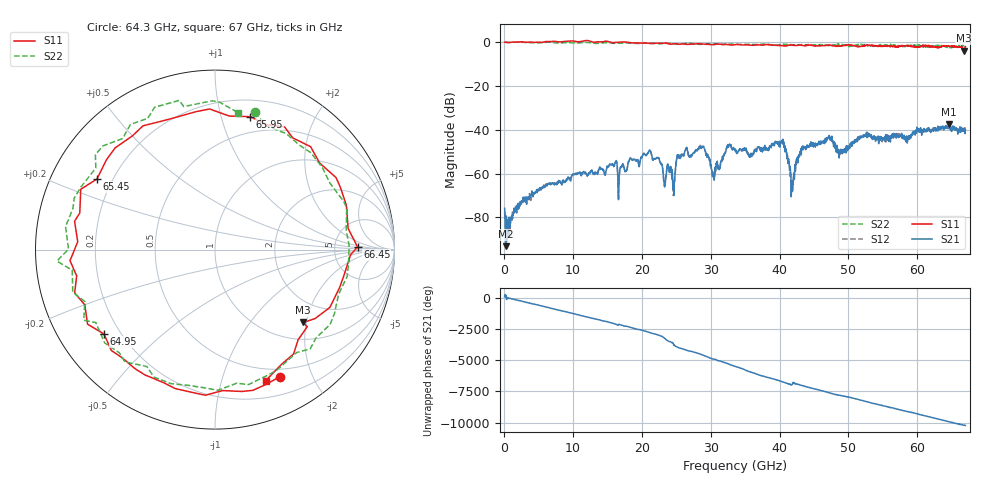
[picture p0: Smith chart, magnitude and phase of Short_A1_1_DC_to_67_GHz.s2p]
#  HZ  S  MA  R  50.00
! Rohde & Schwarz ZVA67 4Ports - Version 4.11 - 1305.7002k04 SN: 101051
! Date: 2023-05-31 11:09:54
! Measurements: S11 S21 S12 S22
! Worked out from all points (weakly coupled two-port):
!   1340 points, 50 MHz to 67 GHz, reference 50 ohm
!   highest |S21| = -37.52 dB at 64.6 GHz (marker M1); lowest = -93.1 dB at 250 MHz (marker M2)
!   lowest |S11| = -3.9 dB at 66.75 GHz (marker M3), VSWR 4.52, Z = 70.1 - j96 ohm
!   |S11| at or under -10 dB: nowhere
!   |S22| runs from -2.7 to 0.0 dB; largest |S21 - S12| = 0.0039
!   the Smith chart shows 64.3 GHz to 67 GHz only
!   S11 on the Smith chart (normalised r, x): 64.3 GHz: 0.40, -1.56; 64.95 GHz: 0.14, -0.33; 65.45 GHz: 0.14, +0.27; 65.95 GHz: 0.35, +1.24; 66.45 GHz: 8.69, +0.67; 67 GHz: 0.37, -1.39
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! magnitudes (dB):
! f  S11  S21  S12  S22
! 50 MHz  -0.1  -75.8  -77.5  0.0
! 250 MHz  -0.2  -93.1  -88.5  -0.1
! 11.25 GHz  0.3  -59.7  -60.3  -0.3
! 22.4 GHz  -0.6  -52.9  -52.8  -0.8
! 24.6 GHz  -0.8  -67.7  -69.7  -0.8
! 26.4 GHz  -1.0  -48.7  -48.3  -0.6
! 28.8 GHz  -0.9  -48.0  -47.6  -1.1
! 30.4 GHz  -1.2  -60.4  -61.9  -0.8
! 33.55 GHz  -1.2  -48.8  -49.3  -1.0
! 40.45 GHz  -1.7  -45.3  -45.5  -1.1
! 41.85 GHz  -1.5  -68.2  -68.4  -1.3
! 43.2 GHz  -1.5  -48.3  -49.7  -1.2
! 44.7 GHz  -1.5  -46.5  -46.9  -1.4
! 55.85 GHz  -1.8  -45.3  -42.7  -1.4
! 64.3 GHz  -2.0  -38.3  -39.6  -2.0
! 64.6 GHz  -1.9  -37.5  -39.4  -2.6
! 64.95 GHz  -2.2  -39.7  -39.2  -2.7
! 65.45 GHz  -2.3  -40.1  -39.9  -2.1
! 65.95 GHz  -2.3  -39.7  -39.5  -1.6
! 66.45 GHz  -2.0  -40.0  -40.0  -1.9
! 66.75 GHz  -3.9  -40.4  -39.6  -1.3
! 67 GHz  -2.1  -40.1  -39.0  -2.2
